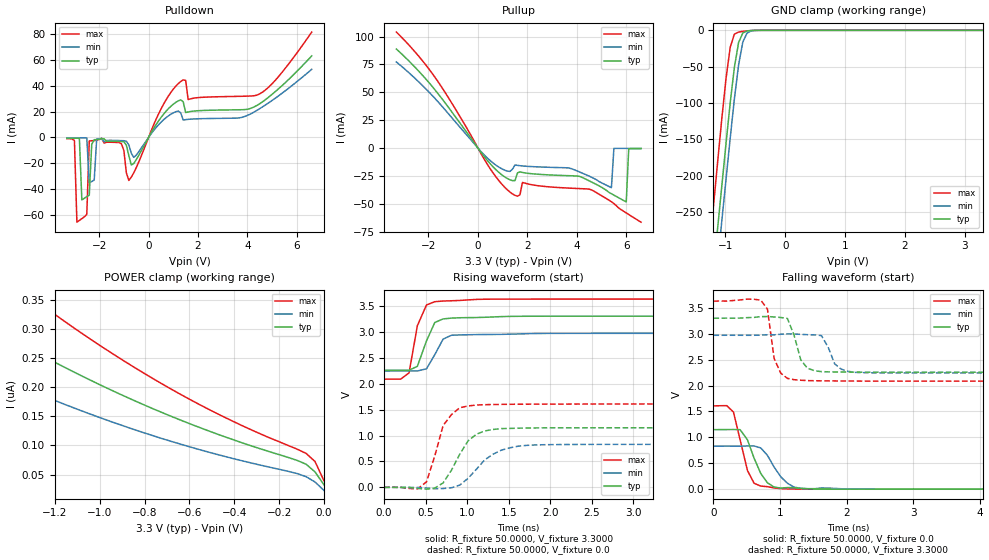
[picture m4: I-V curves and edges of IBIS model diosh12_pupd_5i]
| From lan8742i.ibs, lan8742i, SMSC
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| IBIS file diosh12_pupd_5c.ibs created by s2ibis3 version 1.2
| North Carolina State University, ERL, 2006
|[IBIS ver] 4.0
|[File name] lan8720.ibs
|[File Rev] 2.0
|[Date]  Feb 19th 2009
|[Source] Simulation
|[Copyright] SMSC (Standard Microsystems Corperation) 2007
|   Model diosh12_pupd_5i
[Model]  diosh12_pupd_5i
Model_type I/O
Polarity   Non-Inverting
Enable   Active-Low
Vinl =   0.0V
Vinh =   3.3000V
Vmeas =  1.6500V
Vref =   0.0V
C_comp   1.5710pF   1.4139pF   1.7281pF
[Temperature Range]   42.0000   85.0000   -40.0000
[Voltage Range]   3.3000V   2.9700V   3.6300V
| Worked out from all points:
|   slope of the pulldown table from 0 to 0.495 V, typ, clamps not added: 32.5 ohm
|   slope of the pullup table from 0 to 0.495 V, typ, clamps not added: 35.3 ohm
|   GND clamp passes 1 mA (typ) near -0.64 V on its own axis
|   rising waveform, R_fixture 50.0000, V_fixture 3.3000: 20-80 % time 156ps typ, 151ps min, 136ps max; typ from 2.26 V to 3.3 V
|   rising waveform, R_fixture 50.0000, V_fixture 0.0: 20-80 % time 260ps typ, 339ps min, 202ps max; typ from 0.001 V to 1.15 V
|   falling waveform, R_fixture 50.0000, V_fixture 0.0: 20-80 % time 231ps typ, 266ps min, 188ps max; typ from 1.15 V to 0 V
|   falling waveform, R_fixture 50.0000, V_fixture 3.3000: 20-80 % time 157ps typ, 164ps min, 129ps max; typ from 3.3 V to 2.26 V
[Pulldown]
|Voltage   I(typ)   I(min)   I(max)
-3.3V     -545.7uA   -304.8uA   -985.8uA
-3V       -542.1uA   -299.6uA   -2.42mA
-2.9V     -554uA     -297.8uA   -65.59mA
-2.7V     -48.29mA   -294.3uA   -62.83mA
-2.5V     -45.91mA   -415.1uA   -59.58mA
-2.4V     -44.68mA   -35.22mA   -2.721mA
-2.2V     -1.782mA   -33.05mA   -2.431mA
-2.1V     -1.669mA   -1.276mA   -2.279mA
-800mV    -13.95mA   -5.715mA   -33.27mA
1.3V      29.02mA    18.99mA    43.29mA
4.4V      24.94mA    21.12mA    32.86mA
6.6V      63.08mA    52.67mA    81.48mA
[Pullup]
|Voltage   I(typ)   I(min)   I(max)
-3.3V     88.79mA    77.19mA    104mA
-1.8V     53.9mA     45.99mA    65.4mA
300mV     -8.923mA   -7.197mA   -11.69mA
1.3V      -28.53mA   -20.97mA   -39.56mA
1.7V      -21.44mA   -15.84mA   -41.87mA
1.8V      -21.9mA    -16.07mA   -30.9mA
4V        -25.07mA   -20.43mA   -36.26mA
5.4V      -40.99mA   -35.53mA   -48.18mA
5.5V      -42.22mA   -326.6uA   -49.8mA
6V        -48.29mA   -301uA     -58.19mA
6.1V      -658.5uA   -302.7uA   -59.6mA
6.6V      -547.8uA   -311.2uA   -66.51mA
[GND_clamp]
|Voltage   I(typ)   I(min)   I(max)
-3.3V     -2.097A    -2.101A    -2.086A
-1.27V    -389.2mA   -433.1mA   -303.1mA
-1.2V     -330.7mA   -376mA     -242mA
-1.13V    -272.2mA   -319mA     -181mA
-1.06V    -213.9mA   -262mA     -121.1mA
-990mV    -155.6mA   -205.1mA   -66.18mA
-920mV    -99.57mA   -148.3mA   -23.2mA
-850mV    -50.71mA   -94.06mA   -5.164mA
-780mV    -16.79mA   -47.62mA   -2.413mA
-710mV    -3.717mA   -16.3mA    -1.412mA
-570mV    -280.5uA   -752.3uA   -241.5uA
3.3V      32.31nA    70.35nA    292.2pA
[POWER_clamp]
|Voltage   I(typ)   I(min)   I(max)
-3.28V    815nA      639.8nA    1.108uA
-2.16V    469.5nA    355nA      637.7nA
-1.72V    357nA      266nA      482.8nA
-1.68V    347.5nA    258.6nA    469.7nA
-1.32V    267.1nA    196nA      358.7nA
-1.28V    258.8nA    189.6nA    347.3nA
-1V       204.2nA    147.8nA    271.7nA
-680mV    149.7nA    106.8nA    196.3nA
-400mV    109.1nA    76.93nA    140.3nA
-80mV     67.79nA    46.42nA    86.32nA
-40mV     54.59nA    37.21nA    72.41nA
0V        32.31nA    22.73nA    39.32nA
[Ramp]
| variable   typ   min   max
dV/dt_r  0.6898/0.2607n   0.4980/0.3246n   0.9652/0.1922n
dV/dt_f  0.6261/0.1300n   0.4362/0.1521n   0.9274/0.1119n
R_load = 50.0000
[Rising Waveform]
R_fixture= 50.0000
V_fixture= 3.3000
V_fixture_min= 2.9700
V_fixture_max= 3.6300
|time   V(typ)   V(min)   V(max)
0s        2.257V     2.243V     2.086V
200ps     2.259V     2.245V     2.087V
300ps     2.259V     2.245V     2.208V
400ps     2.333V     2.244V     3.117V
510ps     2.825V     2.286V     3.517V
610ps     3.179V     2.56V      3.58V
710ps     3.247V     2.858V     3.592V
810ps     3.263V     2.933V     3.597V
910ps     3.27V      2.939V     3.603V
10ns      3.3V       2.97V      3.63V
[Rising Waveform]
R_fixture= 50.0000
V_fixture= 0.0
V_fixture_min= 0.0
V_fixture_max= 0.0
|time   V(typ)   V(min)   V(max)
0s        862.6uV    398.1uV    2.197mV
400ps     -17.89mV   -372.3uV   -30.46mV
510ps     -33.51mV   -12.93mV   106.9mV
710ps     87.04mV    -21.33mV   1.193V
910ps     639.8mV    44.49mV    1.535V
1.01ns    896.3mV    175.5mV    1.57V
1.11ns    1.025V     348.8mV    1.587V
1.41ns    1.134V     717.7mV    1.6V
1.82ns    1.147V     818.9mV    1.605V
10ns      1.15V      830mV      1.609V
[Falling Waveform]
R_fixture= 50.0000
V_fixture= 0.0
V_fixture_min= 0.0
V_fixture_max= 0.0
|time   V(typ)   V(min)   V(max)
0s        1.149V     829.5mV    1.607V
300ps     1.151V     830.1mV    1.488V
400ps     1.148V     830mV      952.9mV
510ps     952.7mV    833.7mV    360.2mV
610ps     596.8mV    833.9mV    112.9mV
710ps     301.8mV    795.2mV    59.79mV
910ps     40.44mV    426.9mV    23.73mV
1.11ns    30.95mV    114mV      5.027mV
1.41ns    8.087mV    9.309mV    731.1uV
10ns      28.21uV    18.15uV    13.99uV
[Falling Waveform]
R_fixture= 50.0000
V_fixture= 3.3000
V_fixture_min= 2.9700
V_fixture_max= 3.6300
|time   V(typ)   V(min)   V(max)
0s        3.299V     2.97V      3.628V
710ps     3.331V     2.973V     3.648V
810ps     3.331V     2.979V     3.475V
910ps     3.324V     2.978V     2.523V
1.21ns    2.97V      2.995V     2.113V
1.31ns    2.497V     2.988V     2.102V
1.62ns    2.269V     2.964V     2.091V
1.82ns    2.262V     2.416V     2.089V
2.12ns    2.259V     2.255V     2.087V
10ns      2.257V     2.243V     2.084V
